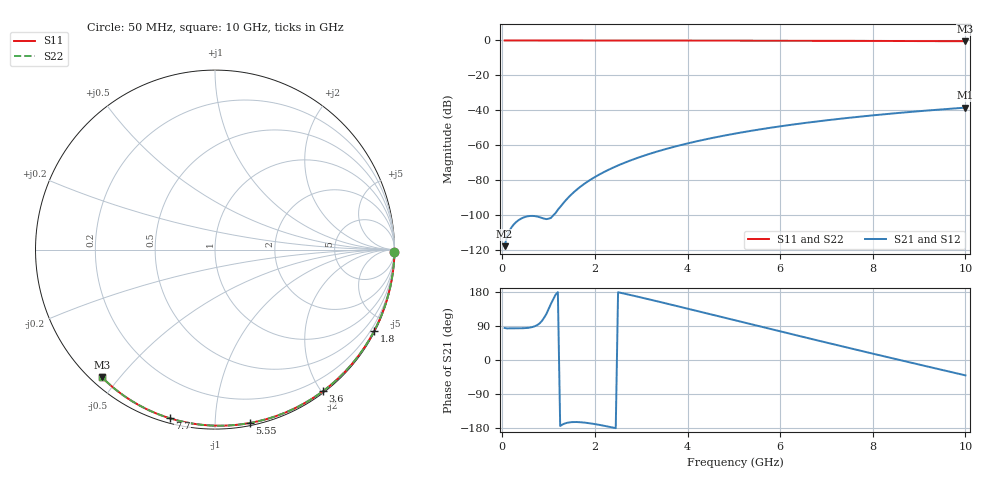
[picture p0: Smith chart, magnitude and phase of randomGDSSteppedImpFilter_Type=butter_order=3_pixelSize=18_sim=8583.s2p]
! freq	dB(S11)	phase(S11)	dB(S12)	phase(S12)
!  dB(S21)	phase(S21)	dB(S22)	phase(S22)
!S-par simulation data
#  GHz  S  DB  R 50
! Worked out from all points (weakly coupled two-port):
!   200 points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, 50 MHz to 10 GHz, reference 50 ohm
!   highest |S21| = -38.41 dB at 10 GHz (marker M1); lowest = -117.6 dB at 50 MHz (marker M2)
!   lowest |S11| = -0.4 dB at 10 GHz (marker M3), VSWR 39.05, Z = 1.54 - j22.5 ohm
!   |S11| at or under -10 dB: nowhere
!   |S22| runs from -0.4 to 0.0 dB; largest |S21 - S12| = 0
!   S11 on the Smith chart (normalised r, x): 50 MHz: open; 1.8 GHz: 0.04, -4.17; 3.6 GHz: 0.02, -2.02; 5.55 GHz: 0.02, -1.22; 7.7 GHz: 0.02, -0.77; 10 GHz: 0.03, -0.45
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0.05  -0.00 -0.8  -117.58 84.5  -117.58 84.5  -0.00 -0.8
0.9  -0.02 -13.6  -101.83 111.0  -101.83 111.0  -0.02 -13.6
1.75  -0.03 -26.2  -82.35 -164.9  -82.35 -164.9  -0.03 -26.2
1.8  -0.03 -26.9  -81.41 -165.5  -81.41 -165.5  -0.03 -26.9
1.85  -0.04 -27.7  -80.52 -166.3  -80.52 -166.3  -0.04 -27.7
1.9  -0.04 -28.4  -79.67 -167.2  -79.67 -167.2  -0.04 -28.4
2.05  -0.04 -30.6  -77.29 -170.2  -77.29 -170.2  -0.04 -30.6
2.25  -0.04 -33.5  -74.49 -174.8  -74.49 -174.8  -0.04 -33.5
2.45  -0.05 -36.4  -72.01 -179.9  -72.01 -179.9  -0.05 -36.4
2.65  -0.05 -39.3  -69.79 174.8  -69.79 174.8  -0.05 -39.3
3  -0.06 -44.3  -66.38 164.9  -66.38 164.9  -0.06 -44.3
3.4  -0.07 -49.9  -63.04 153.3  -63.04 153.3  -0.07 -49.9
3.6  -0.07 -52.7  -61.55 147.4  -61.55 147.4  -0.07 -52.7
4.3  -0.09 -62.3  -57.04 126.5  -57.04 126.5  -0.09 -62.2
5.05  -0.11 -72.2  -53.12 104.0  -53.12 104.0  -0.11 -72.2
5.55  -0.13 -78.7  -50.88 89.0  -50.88 89.0  -0.13 -78.7
6.1  -0.15 -85.6  -48.71 72.6  -48.71 72.6  -0.15 -85.6
6.7  -0.18 -93.1  -46.60 54.8  -46.60 54.8  -0.18 -93.1
7.7  -0.24 -105.1  -43.61 25.5  -43.61 25.5  -0.24 -105.1
8.35  -0.29 -112.7  -41.93 6.6  -41.93 6.6  -0.29 -112.7
9.15  -0.36 -121.8  -40.11 -16.3  -40.11 -16.3  -0.36 -121.8
10  -0.44 -131.4  -38.41 -40.5  -38.41 -40.5  -0.44 -131.4
